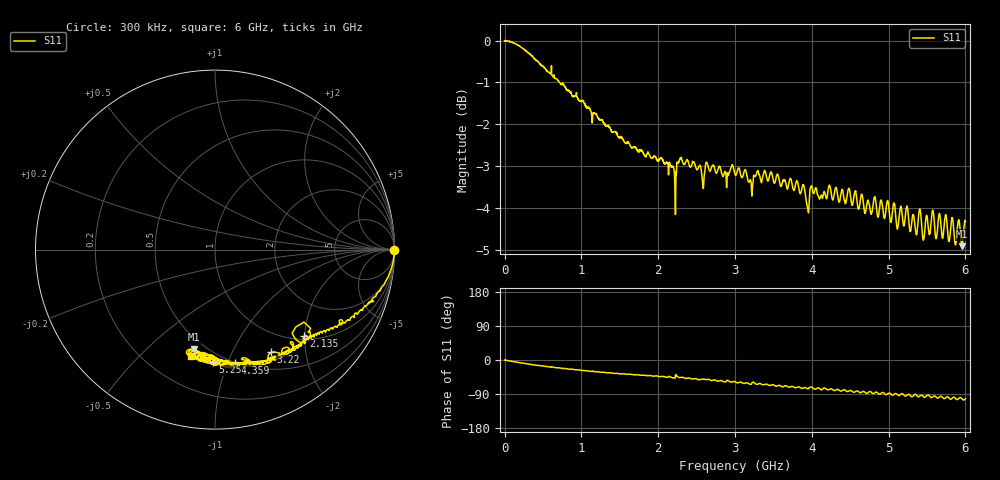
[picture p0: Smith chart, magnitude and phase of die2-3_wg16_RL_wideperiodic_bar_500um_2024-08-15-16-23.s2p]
!Keysight Technologies,P9374A,MY57304198,A.17.20.09
!Date: Thursday, August 15, 2024 16:23:58
!Correction: S11(C  1-Port  )
!S21(C  1-Port  )
!S12(Off)
!S22(Off)
!S2P File: Measurements: S11, S21, S12, S22:
# Hz S  dB  R 50
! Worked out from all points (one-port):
!   6000 points, 300 kHz to 6 GHz, reference 50 ohm
!   lowest |S11| = -4.9 dB at 5.954 GHz (marker M1), VSWR 3.63, Z = 21.7 - j35.6 ohm
!   |S11| at or under -10 dB: nowhere
!   S11 on the Smith chart (normalised r, x): 300 kHz: open; 2.135 GHz: 1.07, -1.98; 3.22 GHz: 0.72, -1.43; 4.359 GHz: 0.49, -1.06; 5.25 GHz: 0.43, -0.88; 6 GHz: 0.39, -0.73
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300000  -0.00 -0.0  -200.00 45.0  -200.00 45.0  -200.00 45.0
4.143483e8  -0.47 -13.9  -200.00 45.0  -200.00 45.0  -200.00 45.0
1.000417e9  -1.44 -27.5  -200.00 45.0  -200.00 45.0  -200.00 45.0
1.499475e9  -2.32 -36.4  -200.00 45.0  -200.00 45.0  -200.00 45.0
2.000533e9  -2.87 -43.1  -200.00 45.0  -200.00 45.0  -200.00 45.0
2.134549e9  -3.21 -44.3  -200.00 45.0  -200.00 45.0  -200.00 45.0
2.195556e9  -3.01 -47.3  -200.00 45.0  -200.00 45.0  -200.00 45.0
2.242562e9  -2.91 -42.2  -200.00 45.0  -200.00 45.0  -200.00 45.0
2.363576e9  -2.88 -48.6  -200.00 45.0  -200.00 45.0  -200.00 45.0
3.00065e9  -3.20 -57.6  -200.00 45.0  -200.00 45.0  -200.00 45.0
3.219676e9  -3.72 -61.5  -200.00 45.0  -200.00 45.0  -200.00 45.0
3.545714e9  -3.21 -68.8  -200.00 45.0  -200.00 45.0  -200.00 45.0
3.884753e9  -3.45 -74.5  -200.00 45.0  -200.00 45.0  -200.00 45.0
3.935759e9  -3.92 -75.1  -200.00 45.0  -200.00 45.0  -200.00 45.0
4.000767e9  -3.49 -71.9  -200.00 45.0  -200.00 45.0  -200.00 45.0
4.040771e9  -3.57 -77.1  -200.00 45.0  -200.00 45.0  -200.00 45.0
4.168786e9  -3.64 -74.0  -200.00 45.0  -200.00 45.0  -200.00 45.0
4.358809e9  -3.86 -80.1  -200.00 45.0  -200.00 45.0  -200.00 45.0
5.000883e9  -3.95 -87.7  -200.00 45.0  -200.00 45.0  -200.00 45.0
5.249912e9  -4.05 -91.2  -200.00 45.0  -200.00 45.0  -200.00 45.0
5.953995e9  -4.92 -102.0  -200.00 45.0  -200.00 45.0  -200.00 45.0
6e9  -4.33 -102.4  -200.00 45.0  -200.00 45.0  -200.00 45.0
